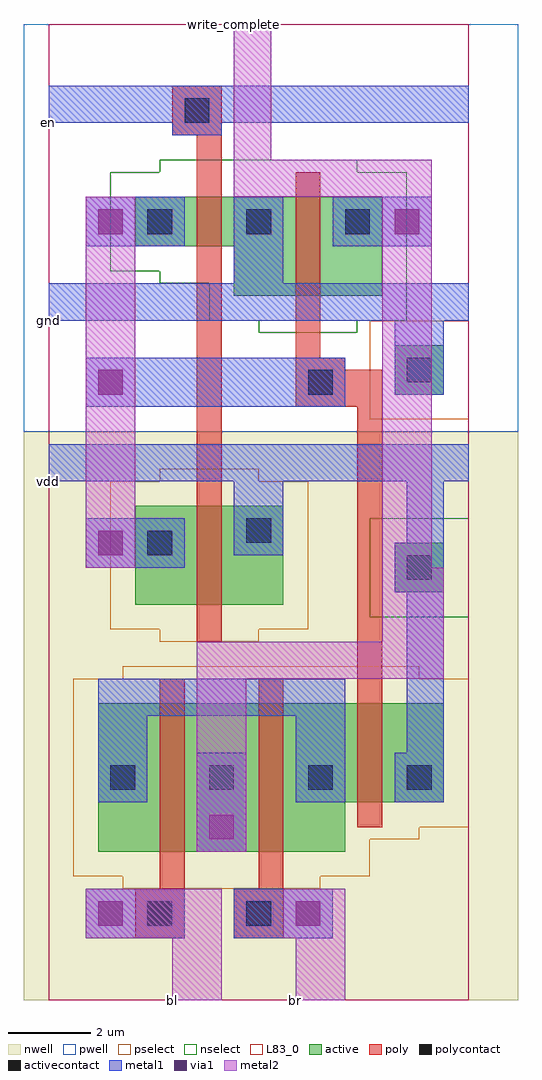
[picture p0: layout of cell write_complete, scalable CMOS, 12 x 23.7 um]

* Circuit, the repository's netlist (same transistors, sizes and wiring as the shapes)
.SUBCKT write_complete bl br en write_complete vdd gnd
M1 net1 bl write_complete vdd p w=3.6u l=0.6u
M2 net1 br write_complete vdd p w=3.6u l=0.6u
M3 write_complete en_b gnd gnd n w=2.4u l=0.6u
M4 net1 en_b vdd vdd p w=2.4u l=0.6u
M5 en_b en gnd gnd n w=1.2u l=0.6u
M6 en_b en vdd vdd p w=2.4u l=0.6u
.ENDS write_complete

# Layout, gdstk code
import gdstk
lib = gdstk.Library(unit=1e-6, precision=1e-09)
def R(c, l, rs):  # rectangles x0, y0, x1, y1
    for r in rs: c.add(gdstk.rectangle(r[:2], r[2:], *l))
def A(c, l, x, y, w, h, nx, ny, dx, dy):  # array of equal rectangles
    R(c, l, [(x+i*dx, y+j*dy, x+i*dx+w, y+j*dy+h) for i in range(nx) for j in range(ny)])
pwell = (41, 0)
nwell = (42, 0)
active = (43, 0)
pselect = (44, 0)
nselect = (45, 0)
poly = (46, 0)
polycontact = (47, 0)
activecontact = (48, 0)
metal1 = (49, 0)
via1 = (50, 0)
metal2 = (51, 0)
L83_0 = (83, 0)

write_complete = lib.new_cell('write_complete')
R(write_complete, pwell, [(-0.6,13.8,11.4,23.7)])
R(write_complete, nwell, [(-0.6,0,11.4,13.8)])
R(write_complete, active, [(1.2,3.6,7.2,4.8), (1.2,4.8,9.6,7.2), (2.1,9.6,5.7,12), (8.4,9.9,9.6,11.1), (8.4,14.7,9.6,15.9), (4.5,17.1,8.1,18.3), (2.1,18.3,8.1,19.5)])
R(write_complete, pselect, [(1.8,2.7,6.6,3), (0.6,3,7.8,3.9), (0.6,3.9,9,4.2), (0.6,4.2,10.2,7.8), (1.8,7.8,9,8.1), (2.7,8.7,5.1,9), (1.5,9,6.3,12.6), (2.7,12.6,5.1,12.9), (7.8,14.1,10.2,16.5)])
R(write_complete, nselect, [(7.8,9.3,10.2,11.7), (5.1,16.2,7.5,16.5), (3.9,16.5,8.7,17.4), (2.7,17.4,8.7,17.7), (1.5,17.7,8.7,20.1), (2.7,20.1,7.5,20.4)])
R(write_complete, poly, [(2.1,1.5,3.3,2.7), (4.5,1.5,5.7,2.7), (2.7,2.7,3.3,7.8), (5.1,2.7,5.7,7.8), (7.5,4.2,8.1,14.4), (3.6,8.7,4.2,21), (6,14.4,8.1,15.3), (6,15.3,7.2,15.6), (6,15.6,6.6,20.1), (3,21,4.2,22.2)])
R(write_complete, polycontact, [(2.4,1.8,3,2.4), (4.8,1.8,5.4,2.4), (6.3,14.7,6.9,15.3), (3.3,21.3,3.9,21.9)])
A(write_complete, activecontact, 1.5, 5.1, 0.6, 0.6, 4, 1, 2.4, 0)
A(write_complete, activecontact, 2.4, 18.6, 0.6, 0.6, 3, 1, 2.4, 0)
R(write_complete, activecontact, [(8.7,10.2,9.3,10.8), (2.4,10.8,3,11.4), (4.8,11.1,5.4,11.7), (8.7,15,9.3,15.6)])
R(write_complete, metal1, [(0.9,1.5,3.3,2.7), (4.5,1.5,6.9,2.7), (3.6,3.6,4.8,6), (1.2,4.8,2.4,6.9), (6,4.8,7.2,6.9), (8.4,4.8,9.6,6), (8.7,6,9.6,9.9), (1.2,6.9,7.2,7.8), (8.4,9.9,9.6,11.1), (0.9,10.5,3.3,11.7), (4.5,10.8,5.7,12.6), (8.7,11.1,9.6,12.6), (0,12.6,10.2,13.5), (0.9,14.4,7.2,15.6), (8.4,14.7,9.6,16.5), (0,16.5,10.2,17.4), (4.5,17.4,5.7,19.5), (0.9,18.3,3.3,19.5), (6.9,18.3,9.3,19.5), (3,21,4.2,21.3), (0,21.3,10.2,22.2)])
A(write_complete, via1, 1.2, 10.8, 0.6, 0.6, 1, 3, 0, 3.9)
R(write_complete, via1, [(1.2,1.8,1.8,2.4), (6,1.8,6.6,2.4), (3.9,3.9,4.5,4.5), (8.4,18.6,9,19.2)])
R(write_complete, metal2, [(3,0,4.2,1.5), (6,0,7.2,1.5), (0.9,1.5,4.2,2.7), (5.7,1.5,7.2,2.7), (3.6,3.6,4.8,7.8), (3.6,7.8,9.6,8.7), (8.1,8.7,9.6,10.5), (0.9,10.5,2.1,19.5), (8.1,10.5,9.3,19.5), (4.5,19.5,9.3,20.4), (4.5,20.4,5.4,23.7)])
R(write_complete, L83_0, [(0,0,10.2,23.7)])
write_complete.add(gdstk.Label('bl', (3,0), layer=51, texttype=0))
write_complete.add(gdstk.Label('br', (6,0), layer=51, texttype=0))
write_complete.add(gdstk.Label('gnd', (0,16.5), layer=49, texttype=0))
write_complete.add(gdstk.Label('write_complete', (4.5,23.7), layer=51, texttype=0))
write_complete.add(gdstk.Label('en', (0,21.3), layer=49, texttype=0))
write_complete.add(gdstk.Label('vdd', (0,12.6), layer=49, texttype=0))

lib.write_gds('write_complete.gds')
